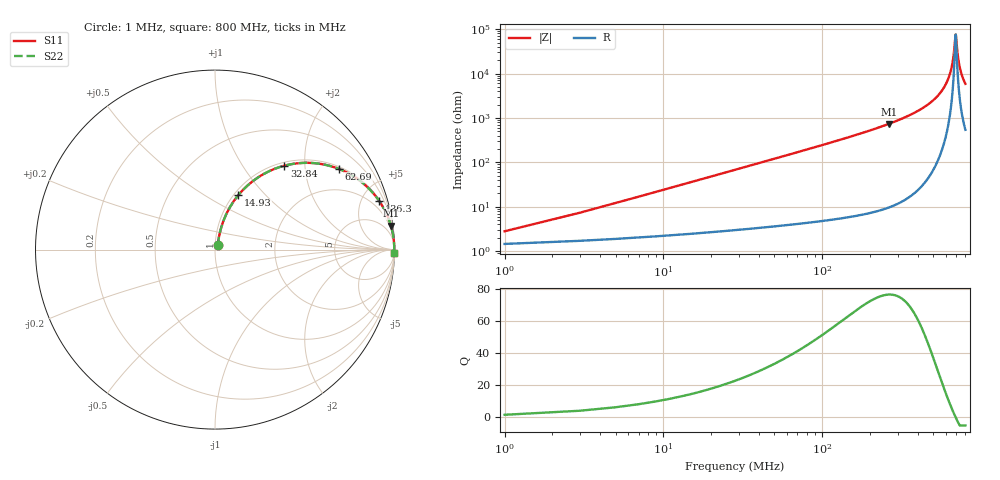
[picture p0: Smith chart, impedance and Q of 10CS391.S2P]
! Coilcraft 1008CS-391 Chip Inductor
! 02 July 2002
# MHZ S MA R 50
!Freq  MagS11  AngS11  MagS21  AngS21  MagS12  AngS12  MagS22  AngS22
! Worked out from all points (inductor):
!   403 points, 1 MHz to 800 MHz, reference 50 ohm
!   read as one part in series: L = 380 nH near 4.98 MHz
!   highest Q = 76.6 at 263.7 MHz (marker M1), where L = 444 nH
!   self-resonance near 693.5 MHz
!   S11 on the Smith chart (normalised r, x): 1 MHz: 1.03, +0.05; 14.93 MHz: 1.05, +0.71; 32.84 MHz: 1.06, +1.57; 62.69 MHz: 1.08, +3.02; 136.3 MHz: 1.11, +6.77; 800 MHz: open
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1  0.02752 57.4  0.9854 -1.3  0.9854 -1.3  0.02752 57.4
6.97  0.1622 73.8  0.9674 -9.3  0.9674 -9.3  0.1622 73.8
10.95  0.2487 70.7  0.9475 -14.3  0.9475 -14.3  0.2487 70.7
14.93  0.3295 66.9  0.9218 -19.2  0.9218 -19.2  0.3295 66.9
32.84  0.6066 50.4  0.7714 -37.3  0.7714 -37.3  0.6066 50.4
62.69  0.8239 33.1  0.5458 -55.4  0.5458 -55.4  0.8239 33.1
92.54  0.907 23.8  0.4031 -65.1  0.4031 -65.1  0.907 23.8
134.33  0.9535 16.6  0.2861 -72.4  0.2861 -72.4  0.9535 16.6
136.32  0.9548 16.4  0.282 -72.7  0.282 -72.7  0.9548 16.4
263.68  0.9892 7.7  0.1345 -81.5  0.1345 -81.5  0.9892 7.7
267.66  0.9895 7.6  0.1319 -81.7  0.1319 -81.7  0.9895 7.6
400.99  0.9964 4.0  0.06944 -85.1  0.06944 -85.1  0.9964 4.0
534.32  0.9984 1.8  0.03203 -86.2  0.03203 -86.2  0.9984 1.8
619.89  0.9987 0.8  0.01386 -84.3  0.01386 -84.3  0.9987 0.8
647.75  0.9987 0.5  0.008581 -81.3  0.008581 -81.3  0.9987 0.5
667.65  0.9987 0.3  0.005008 -75.2  0.005008 -75.2  0.9987 0.3
691.53  0.9987 0.0  0.001444 -25.3  0.001444 -25.3  0.9987 0.0
695.51  0.9987 -0.0  0.001316 3.2  0.001316 3.2  0.9987 -0.0
717.4  0.9986 -0.2  0.004038 70.1  0.004038 70.1  0.9986 -0.2
735.31  0.9986 -0.4  0.006914 77.9  0.006914 77.9  0.9986 -0.4
763.17  0.9985 -0.6  0.01135 81.9  0.01135 81.9  0.9985 -0.6
800  0.9983 -1.0  0.01703 83.7  0.01703 83.7  0.9983 -1.0
